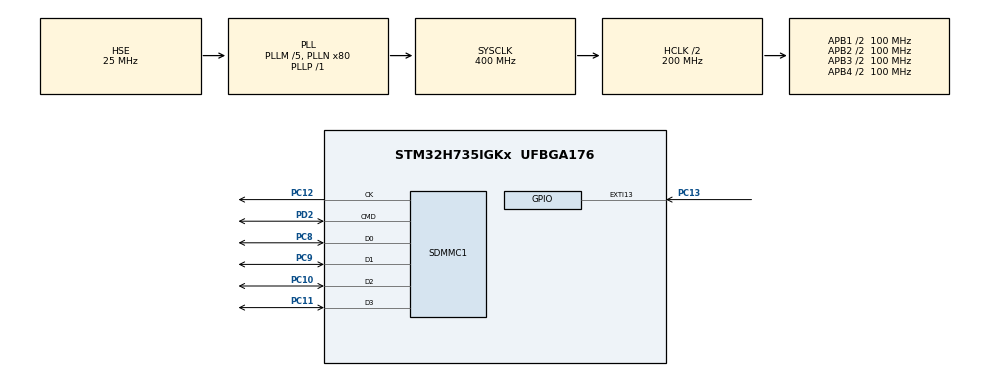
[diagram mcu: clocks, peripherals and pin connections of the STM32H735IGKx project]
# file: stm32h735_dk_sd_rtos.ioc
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CORTEX_M7.default_mode_Activation=1
FATFS._USE_LFN=2
FREERTOS.Mutexes01=sdMutexHandle,Dynamic,NULL
FREERTOS.Tasks01=defaultTask,24,128,StartDefaultTask,Default,NULL,Dynamic,NULL,NULL;StartFileTask,8,512,StartTask02,Default,NULL,Dynamic,NULL,NULL
FREERTOS.configTOTAL_HEAP_SIZE=15360
FREERTOS.configUSE_NEWLIB_REENTRANT=1
Mcu.Family=STM32H7
Mcu.Name=STM32H735IGKx
Mcu.Package=UFBGA176
NVIC.EXTI15_10_IRQn=true\:0\:0\:false\:false\:true\:false\:true\:true\:true
NVIC.PriorityGroup=NVIC_PRIORITYGROUP_4
NVIC.SDMMC1_IRQn=true\:5\:0\:false\:false\:true\:true\:true\:true\:true
NVIC.TIM6_DAC_IRQn=true\:15\:0\:false\:false\:true\:false\:false\:true\:true
NVIC.TimeBase=TIM6_DAC_IRQn
NVIC.TimeBaseIP=TIM6
PC10.Mode=SD_4_bits_Wide_bus
PC10.Signal=SDMMC1_D2
PC11.Mode=SD_4_bits_Wide_bus
PC11.Signal=SDMMC1_D3
PC12.Mode=SD_4_bits_Wide_bus
PC12.Signal=SDMMC1_CK
PC13.Signal=GPXTI13
PC8.Mode=SD_4_bits_Wide_bus
PC8.Signal=SDMMC1_D0
PC9.Mode=SD_4_bits_Wide_bus
PC9.Signal=SDMMC1_D1
PD2.Mode=SD_4_bits_Wide_bus
PD2.Signal=SDMMC1_CMD
PH0-OSC_IN.Mode=HSE-External-Oscillator
PH0-OSC_IN.Signal=RCC_OSC_IN
PH1-OSC_OUT.Mode=HSE-External-Oscillator
PH1-OSC_OUT.Signal=RCC_OSC_OUT
ProjectManager.HeapSize=0x800
ProjectManager.StackSize=0x800
ProjectManager.TargetToolchain=STM32CubeIDE
RCC.ADCFreq_Value=200000000
RCC.APB1Freq_Value=100000000
RCC.APB2Freq_Value=100000000
RCC.APB3Freq_Value=100000000
RCC.APB4Freq_Value=100000000
RCC.CortexFreq_Value=400000000
RCC.D1PPRE=RCC_APB3_DIV2
RCC.D2PPRE1=RCC_APB1_DIV2
RCC.D2PPRE2=RCC_APB2_DIV2
RCC.D3PPRE=RCC_APB4_DIV2
RCC.DIVM1=5
RCC.DIVM2=5
RCC.DIVN1=80
RCC.DIVN2=80
RCC.DIVP1=1
RCC.HCLKFreq_Value=200000000
RCC.HPRE=RCC_HCLK_DIV2
RCC.PLL2FRACN=0
RCC.PLL3FRACN=0
RCC.PLLFRACN=0
RCC.PLLSourceVirtual=RCC_PLLSOURCE_HSE
RCC.PWR_Regulator_Voltage_Scale=PWR_REGULATOR_VOLTAGE_SCALE0
RCC.SYSCLKFreq_VALUE=400000000
RCC.SYSCLKSource=RCC_SYSCLKSOURCE_PLLCLK
RCC.USBFreq_Value=200000000
SDMMC1.ClockDiv=2
VP_FATFS_VS_SDIO.Mode=SDIO
VP_FREERTOS_VS_CMSIS_V2.Mode=CMSIS_V2
VP_SYS_VS_tim6.Mode=TIM6
board=custom

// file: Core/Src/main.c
/* USER CODE BEGIN Header */
/**
  ******************************************************************************
  * @file           : main.c
  * @brief          : Main program body
  ******************************************************************************
  * @attention
  *
  * Copyright (c) 2024 STMicroelectronics.
  * All rights reserved.
  *
  * This software is licensed under terms that can be found in the LICENSE file
  * in the root directory of this software component.
  * If no LICENSE file comes with this software, it is provided AS-IS.
  *
  ******************************************************************************
  */
/* USER CODE END Header */
#include "main.h"
#include "cmsis_os.h"
#include "fatfs.h"

/* USER CODE BEGIN Includes */
#include "stdio.h"
#include "string.h"
#include "stdlib.h"
/* USER CODE END Includes */

SD_HandleTypeDef hsd1;

/* Definitions for defaultTask */
osThreadId_t defaultTaskHandle;
const osThreadAttr_t defaultTask_attributes = {
  .name = "defaultTask",
  .stack_size = 128 * 4,
  .priority = (osPriority_t) osPriorityNormal,
};
/* Definitions for StartFileTask */
osThreadId_t StartFileTaskHandle;
const osThreadAttr_t StartFileTask_attributes = {
  .name = "StartFileTask",
  .stack_size = 512 * 4,
  .priority = (osPriority_t) osPriorityLow,
};
/* Definitions for sdMutexHandle */
osMutexId_t sdMutexHandleHandle;
const osMutexAttr_t sdMutexHandle_attributes = {
  .name = "sdMutexHandle"
};

void SystemClock_Config(void);
static void MPU_Config(void);
static void MX_GPIO_Init(void);
static void MX_SDMMC1_SD_Init(void);
void StartDefaultTask(void *argument);
void StartTask02(void *argument);

/* USER CODE BEGIN 0 */
#define SAMPLES_COUNT      2048 * 2
#define SEARCH_COUNT       100

uint32_t isPressButton = 0;
ALIGN_32BYTES (static uint16_t sample_buffer[SAMPLES_COUNT]);

static int32_t FileOperationWR(void) {
    UINT byteswritten;
    char filename[25];
    int file_number = 0;
    FRESULT fr;

    for (int i = 0; i < SAMPLES_COUNT; i++) {
        sample_buffer[i] = i;
    }

    // get mutex first before access flash memory
    osMutexWait(sdMutexHandleHandle, osWaitForever);

    /* Register the file system object to the FatFs module */
    if (f_mount(&SDFatFS, (TCHAR const*) SDPath, 0) == FR_OK) {

        for (int i = 0; i < SEARCH_COUNT; i++) {

            snprintf(filename, sizeof(filename), "logging_data_%d.csv", file_number);

            fr = f_open(&SDFile, filename, FA_CREATE_NEW | FA_WRITE);
            if (fr == FR_EXIST) {
                file_number++;
            } else {

                /* Create and Open a new text file object with write access */
                //if (f_open(&SDFile, filename, FA_CREATE_ALWAYS | FA_WRITE) == FR_OK)
                {
                    for (int i = 0; i < SAMPLES_COUNT; i++) {
                        char buffer[20];
                        snprintf(buffer, sizeof(buffer), "%d\n", sample_buffer[i]);
                        f_write(&SDFile, buffer, strlen(buffer), &byteswritten);
                    }

                    f_close(&SDFile);
                }
                break;
            }

        }
    }else{
        return -1;
    }

    // release mutex
    osMutexRelease(sdMutexHandleHandle);

    return 1;
}

void HAL_GPIO_EXTI_Callback(uint16_t GPIO_Pin)
{
    if(GPIO_Pin == GPIO_PIN_13){
        isPressButton = 1;
    }
}
/* USER CODE END 0 */

int main(void)
{

  /* MPU Configuration--------------------------------------------------------*/
  MPU_Config();

  /* MCU Configuration--------------------------------------------------------*/

  /* Reset of all peripherals, Initializes the Flash interface and the Systick. */
  HAL_Init();

  /* Configure the system clock */
  SystemClock_Config();

  /* Initialize all configured peripherals */
  MX_GPIO_Init();
  MX_SDMMC1_SD_Init();
  MX_FATFS_Init();

  /* Init scheduler */
  osKernelInitialize();
  /* Create the mutex(es) */
  /* creation of sdMutexHandle */
  sdMutexHandleHandle = osMutexNew(&sdMutexHandle_attributes);

  /* Create the thread(s) */
  /* creation of defaultTask */
  defaultTaskHandle = osThreadNew(StartDefaultTask, NULL, &defaultTask_attributes);

  /* creation of StartFileTask */
  StartFileTaskHandle = osThreadNew(StartTask02, NULL, &StartFileTask_attributes);

  /* Start scheduler */
  osKernelStart();

  /* We should never get here as control is now taken by the scheduler */

  /* Infinite loop */
  while (1)
  {

  }
}

void SystemClock_Config(void)
{
  RCC_OscInitTypeDef RCC_OscInitStruct = {0};
  RCC_ClkInitTypeDef RCC_ClkInitStruct = {0};

  /** Supply configuration update enable
  */
  HAL_PWREx_ConfigSupply(PWR_DIRECT_SMPS_SUPPLY);

  /** Configure the main internal regulator output voltage
  */
  __HAL_PWR_VOLTAGESCALING_CONFIG(PWR_REGULATOR_VOLTAGE_SCALE0);

  while(!__HAL_PWR_GET_FLAG(PWR_FLAG_VOSRDY)) {}

  /** Initializes the RCC Oscillators according to the specified parameters
  * in the RCC_OscInitTypeDef structure.
  */
  RCC_OscInitStruct.OscillatorType = RCC_OSCILLATORTYPE_HSE;
  RCC_OscInitStruct.HSEState = RCC_HSE_ON;
  RCC_OscInitStruct.PLL.PLLState = RCC_PLL_ON;
  RCC_OscInitStruct.PLL.PLLSource = RCC_PLLSOURCE_HSE;
  RCC_OscInitStruct.PLL.PLLM = 5;
  RCC_OscInitStruct.PLL.PLLN = 80;
  RCC_OscInitStruct.PLL.PLLP = 1;
  RCC_OscInitStruct.PLL.PLLQ = 2;
  RCC_OscInitStruct.PLL.PLLR = 2;
  RCC_OscInitStruct.PLL.PLLRGE = RCC_PLL1VCIRANGE_2;
  RCC_OscInitStruct.PLL.PLLVCOSEL = RCC_PLL1VCOWIDE;
  RCC_OscInitStruct.PLL.PLLFRACN = 0;
  if (HAL_RCC_OscConfig(&RCC_OscInitStruct) != HAL_OK)
  {
    Error_Handler();
  }

  /** Initializes the CPU, AHB and APB buses clocks
  */
  RCC_ClkInitStruct.ClockType = RCC_CLOCKTYPE_HCLK|RCC_CLOCKTYPE_SYSCLK
                              |RCC_CLOCKTYPE_PCLK1|RCC_CLOCKTYPE_PCLK2
                              |RCC_CLOCKTYPE_D3PCLK1|RCC_CLOCKTYPE_D1PCLK1;
  RCC_ClkInitStruct.SYSCLKSource = RCC_SYSCLKSOURCE_PLLCLK;
  RCC_ClkInitStruct.SYSCLKDivider = RCC_SYSCLK_DIV1;
  RCC_ClkInitStruct.AHBCLKDivider = RCC_HCLK_DIV2;
  RCC_ClkInitStruct.APB3CLKDivider = RCC_APB3_DIV2;
  RCC_ClkInitStruct.APB1CLKDivider = RCC_APB1_DIV2;
  RCC_ClkInitStruct.APB2CLKDivider = RCC_APB2_DIV2;
  RCC_ClkInitStruct.APB4CLKDivider = RCC_APB4_DIV2;

  if (HAL_RCC_ClockConfig(&RCC_ClkInitStruct, FLASH_LATENCY_2) != HAL_OK)
  {
    Error_Handler();
  }
}

static void MX_SDMMC1_SD_Init(void)
{

  hsd1.Instance = SDMMC1;
  hsd1.Init.ClockEdge = SDMMC_CLOCK_EDGE_RISING;
  hsd1.Init.ClockPowerSave = SDMMC_CLOCK_POWER_SAVE_DISABLE;
  hsd1.Init.BusWide = SDMMC_BUS_WIDE_4B;
  hsd1.Init.HardwareFlowControl = SDMMC_HARDWARE_FLOW_CONTROL_DISABLE;
  hsd1.Init.ClockDiv = 2;

}

static void MX_GPIO_Init(void)
{
  GPIO_InitTypeDef GPIO_InitStruct = {0};

  /* GPIO Ports Clock Enable */
  __HAL_RCC_GPIOD_CLK_ENABLE();
  __HAL_RCC_GPIOC_CLK_ENABLE();
  __HAL_RCC_GPIOH_CLK_ENABLE();

  /*Configure GPIO pin : PC13 */
  GPIO_InitStruct.Pin = GPIO_PIN_13;
  GPIO_InitStruct.Mode = GPIO_MODE_IT_RISING;
  GPIO_InitStruct.Pull = GPIO_NOPULL;
  HAL_GPIO_Init(GPIOC, &GPIO_InitStruct);

  /* EXTI interrupt init*/
  HAL_NVIC_SetPriority(EXTI15_10_IRQn, 0, 0);
  HAL_NVIC_EnableIRQ(EXTI15_10_IRQn);

}

void StartDefaultTask(void *argument)
{
	for (;;)
	{
		osDelay(1);
	}
}

void StartTask02(void *argument)
{
  /* USER CODE BEGIN StartTask02 */
  /* Infinite loop */
	for (;;)
	{
		if (isPressButton == 1)
		{
			FileOperationWR();
			isPressButton = 0;
		}
		osDelay(1);
	}
  /* USER CODE END StartTask02 */
}

 /* MPU Configuration */

void MPU_Config(void)
{
  MPU_Region_InitTypeDef MPU_InitStruct = {0};

  /* Disables the MPU */
  HAL_MPU_Disable();

  /** Initializes and configures the Region and the memory to be protected
  */
  MPU_InitStruct.Enable = MPU_REGION_ENABLE;
  MPU_InitStruct.Number = MPU_REGION_NUMBER0;
  MPU_InitStruct.BaseAddress = 0x0;
  MPU_InitStruct.Size = MPU_REGION_SIZE_4GB;
  MPU_InitStruct.SubRegionDisable = 0x87;
  MPU_InitStruct.TypeExtField = MPU_TEX_LEVEL0;
  MPU_InitStruct.AccessPermission = MPU_REGION_NO_ACCESS;
  MPU_InitStruct.DisableExec = MPU_INSTRUCTION_ACCESS_DISABLE;
  MPU_InitStruct.IsShareable = MPU_ACCESS_SHAREABLE;
  MPU_InitStruct.IsCacheable = MPU_ACCESS_NOT_CACHEABLE;
  MPU_InitStruct.IsBufferable = MPU_ACCESS_NOT_BUFFERABLE;

  HAL_MPU_ConfigRegion(&MPU_InitStruct);
  /* Enables the MPU */
  HAL_MPU_Enable(MPU_PRIVILEGED_DEFAULT);

}

void HAL_TIM_PeriodElapsedCallback(TIM_HandleTypeDef *htim)
{
  if (htim->Instance == TIM6) {
    HAL_IncTick();
  }
}

void Error_Handler(void)
{
  __disable_irq();
  while (1)
  {
  }
}
